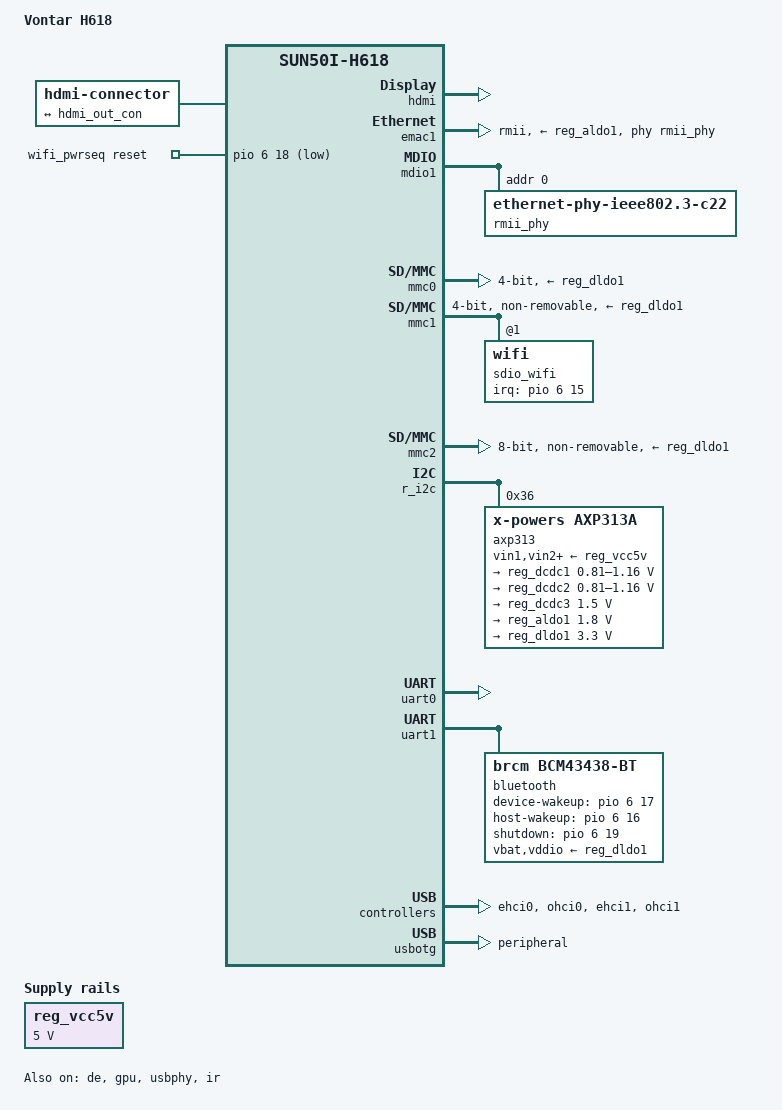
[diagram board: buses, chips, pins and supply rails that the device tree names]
// SPDX-License-Identifier: (GPL-2.0+ OR MIT)
/*
 * Device tree for Vontar H618 TV box.
 */

/dts-v1/;

#include "sun50i-h616.dtsi"
#include "sun50i-h616-cpu-opp.dtsi"
#include <dt-bindings/gpio/gpio.h>
#include <dt-bindings/interrupt-controller/arm-gic.h>
#include <dt-bindings/leds/common.h>
#include <dt-bindings/clock/sun6i-rtc.h>

/ {
	model = "Vontar H618";
	compatible = "vontar,h618", "allwinner,sun50i-h618";

	aliases {
		ethernet0 = &emac1;
		ethernet1 = &sdio_wifi;
		mmc0 = &mmc0;
		mmc1 = &mmc1;
		mmc2 = &mmc2;
		serial0 = &uart0;
	};

	chosen {
		stdout-path = "serial0:115200n8";
	};

	/* HDMI connector (Type-A) */
	connector {
		compatible = "hdmi-connector";
		type = "a";

		port {
			hdmi_con_in: endpoint {
				remote-endpoint = <&hdmi_out_con>;
			};
		};
	};

	/* Board 5 V rail coming from the DC jack */
	reg_vcc5v: regulator-vcc5v {
		compatible = "regulator-fixed";
		regulator-name = "vcc-5v";
		regulator-min-microvolt = <5000000>;
		regulator-max-microvolt = <5000000>;
		regulator-always-on;
	};

	wifi_pwrseq: wifi-pwrseq {
		compatible = "mmc-pwrseq-simple";
		clocks = <&rtc CLK_OSC32K_FANOUT>;
		clock-names = "ext_clock";
		pinctrl-names = "default";
		pinctrl-0 = <&x32clk_fanout_pin>;
		reset-gpios = <&pio 6 18 GPIO_ACTIVE_LOW>; /* PG18 WL_REG_ON */
		post-power-on-delay-ms = <200>;
	};
};

&cpu0 {
	cpu-supply = <&reg_dcdc2>;
};

&de {
	status = "okay";
};

&gpu {
	mali-supply = <&reg_dcdc1>;
	status = "okay";
};

&hdmi {
	hvcc-supply = <&reg_aldo1>;
	status = "okay";
};

&hdmi_out {
	hdmi_out_con: endpoint {
		remote-endpoint = <&hdmi_con_in>;
	};
};

&emac1 {
	pinctrl-names = "default";
	pinctrl-0 = <&rmii_pins>;
	phy-mode = "rmii";
	phy-handle = <&rmii_phy>;
	phy-supply = <&reg_aldo1>;
	allwinner,rx-delay-ps = <3100>;
	allwinner,tx-delay-ps = <700>;
	status = "okay";
};

&mdio1 {
	rmii_phy: ethernet-phy@0 {
		compatible = "ethernet-phy-ieee802.3-c22";
		reg = <0>;
	};
};

&mmc0 {
	vmmc-supply = <&reg_dldo1>;
	/* SD-card detect line is unreliable on this board */
	broken-cd;
	bus-width = <4>;
	status = "okay";
};

&mmc1 {
	vmmc-supply = <&reg_dldo1>;	/* 3.3 V VBAT */
	vqmmc-supply = <&reg_aldo1>;	/* 1.8 V SDIO IO */
	mmc-pwrseq = <&wifi_pwrseq>;
	bus-width = <4>;
	non-removable;
	status = "okay";

	sdio_wifi: wifi@1 {
		reg = <1>;
		interrupt-parent = <&pio>;
		interrupts = <6 15 IRQ_TYPE_LEVEL_LOW>; /* PG15 WL_HOSTWAKE */
		interrupt-names = "host-wake";
	};
};

&mmc2 {
	vmmc-supply = <&reg_dldo1>;
	vqmmc-supply = <&reg_aldo1>;
	bus-width = <8>;
	non-removable;
	cap-mmc-hw-reset;
	mmc-ddr-1_8v;
	mmc-hs200-1_8v;
	status = "okay";
};

&pio {
	vcc-pc-supply = <&reg_aldo1>; /* PC bank feeds eMMC (1.8 V) */
	vcc-pf-supply = <&reg_dldo1>; /* PF bank feeds SD */
	vcc-pg-supply = <&reg_dldo1>; /* PG bank: Wi-Fi/BT, mmc1 */
	vcc-ph-supply = <&reg_dldo1>;
	vcc-pi-supply = <&reg_dldo1>; /* PI bank: RMII lines */
};

&r_i2c {
	status = "okay";

	axp313: pmic@36 {
		compatible = "x-powers,axp313a";
		reg = <0x36>;
		#interrupt-cells = <1>;
		interrupt-controller;

		vin1-supply = <&reg_vcc5v>;
		vin2-supply = <&reg_vcc5v>;
		vin3-supply = <&reg_vcc5v>;

		regulators {
			reg_dcdc1: dcdc1 {
				regulator-always-on;
				regulator-min-microvolt = <810000>;
				regulator-max-microvolt = <1160000>;
				regulator-name = "vdd-gpu-sys";
			};

			reg_dcdc2: dcdc2 {
				regulator-always-on;
				regulator-min-microvolt = <810000>;
				regulator-max-microvolt = <1160000>;
				regulator-ramp-delay = <2500>;
				regulator-name = "vdd-cpu";
			};

			reg_dcdc3: dcdc3 {
				regulator-always-on;
				regulator-min-microvolt = <1500000>;
				regulator-max-microvolt = <1500000>;
				regulator-name = "vdd-dram";
			};

			reg_aldo1: aldo1 {
				regulator-always-on;
				regulator-min-microvolt = <1800000>;
				regulator-max-microvolt = <1800000>;
				regulator-name = "vcc1v8";
			};

			reg_dldo1: dldo1 {
				regulator-always-on;
				regulator-min-microvolt = <3300000>;
				regulator-max-microvolt = <3300000>;
				regulator-name = "vcc3v3";
			};
		};
	};
};

&uart0 {
	pinctrl-names = "default";
	pinctrl-0 = <&uart0_ph_pins>;
	status = "okay";
};

/* UART1 -- Bluetooth (bcm43438) */
&uart1 {
	pinctrl-names = "default";
	pinctrl-0 = <&uart1_pins>, <&uart1_rts_cts_pins>;
	uart-has-rtscts;
	status = "okay";

	bluetooth {
		compatible = "brcm,bcm43438-bt";
		clocks = <&rtc CLK_OSC32K_FANOUT>;
		clock-names = "lpo";
		vbat-supply = <&reg_dldo1>;
		vddio-supply = <&reg_dldo1>;
		device-wakeup-gpios = <&pio 6 17 GPIO_ACTIVE_HIGH>; /* PG17 */
		host-wakeup-gpios   = <&pio 6 16 GPIO_ACTIVE_HIGH>; /* PG16 */
		shutdown-gpios      = <&pio 6 19 GPIO_ACTIVE_HIGH>; /* PG19 */
	};
};

&ehci0 {
	status = "okay";
};

&ohci0 {
	status = "okay";
};

&ehci1 {
	status = "okay";
};

&ohci1 {
	status = "okay";
};

&usbotg {
	dr_mode = "peripheral";
	status = "okay";
};

&usbphy {
	usb1_vbus-supply = <&reg_vcc5v>;
	status = "okay";
};

&ir {
	status = "okay";
};
